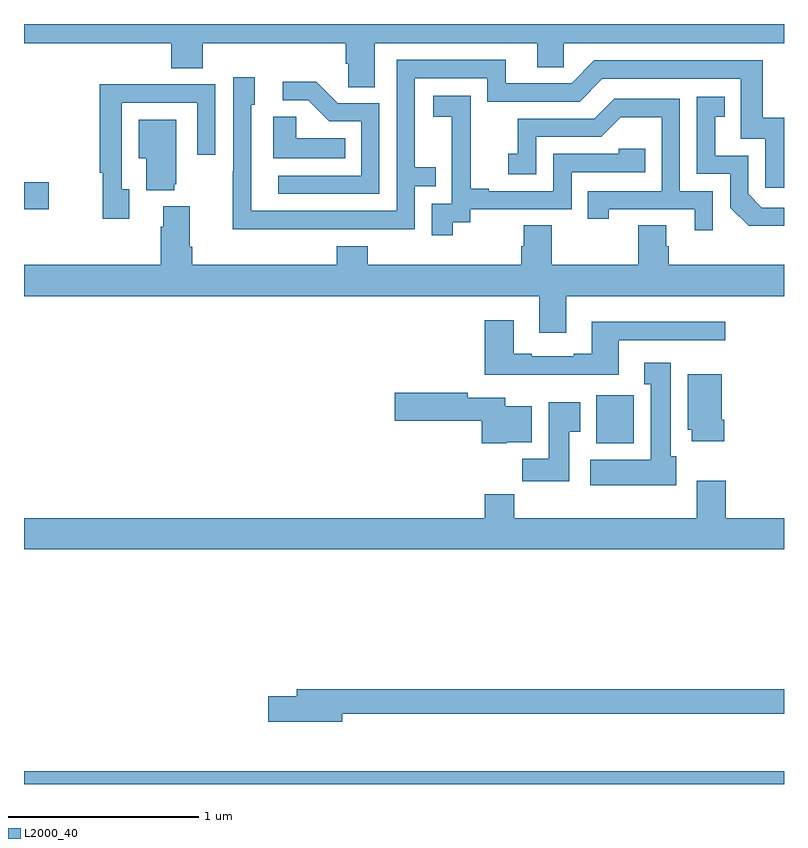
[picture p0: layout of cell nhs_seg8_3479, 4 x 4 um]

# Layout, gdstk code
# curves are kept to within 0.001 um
import gdstk
lib = gdstk.Library(unit=1e-6, precision=1e-09)
def R(c, l, rs):  # rectangles x0, y0, x1, y1
    for r in rs: c.add(gdstk.rectangle(r[:2], r[2:], *l))
def P(c, l, *ps):  # polygons
    for p in ps: c.add(gdstk.Polygon(p, *l))
L2000_40 = (2000, 40)

nhs_seg8_3479 = lib.new_cell('nhs_seg8_3479')
R(nhs_seg8_3479, L2000_40, [(325,1145.9,329,1145.968), (328.013,1147.694,328.209,1147.945), (325,1148.926,325.129,1149.068)])
P(nhs_seg8_3479, L2000_40, [(326.845,1149.8),(327.701,1149.8),(327.701,1149.673),(327.84,1149.673),(327.84,1149.8),(329,1149.8),(329,1149.9),(325,1149.9),(325,1149.8),(325.775,1149.8),(325.775,1149.667),(325.94,1149.667),(325.94,1149.8),(326.693,1149.8),(326.693,1149.691),(326.706,1149.691),(326.706,1149.568),(326.845,1149.568)],
  [(326.561,1148.82),(327.057,1148.82),(327.057,1149.045),(327.167,1149.045),(327.167,1149.146),(327.057,1149.146),(327.057,1149.615),(327.438,1149.615),(327.438,1149.492),(327.924,1149.492),(328.044,1149.612),(328.773,1149.612),(328.773,1149.297),(328.902,1149.297),(328.902,1149.039),(329,1149.039),(329,1149.406),(328.889,1149.406),(328.889,1149.708),(328.002,1149.708),(327.882,1149.588),(327.535,1149.588),(327.535,1149.711),(326.961,1149.711),(326.961,1148.916),(326.196,1148.916),(326.196,1149.474),(326.215,1149.474),(326.215,1149.619),(326.1,1149.619),(326.1,1149.125),(326.098,1149.125),(326.098,1148.819)],
  [(326.871,1149.483),(326.652,1149.483),(326.539,1149.596),(326.361,1149.596),(326.361,1149.498),(326.495,1149.498),(326.606,1149.387),(326.775,1149.387),(326.775,1149.102),(326.337,1149.102),(326.337,1149.006),(326.871,1149.006)],
  [(325.555,1149.03),(325.515,1149.03),(325.515,1149.486),(325.911,1149.486),(325.911,1149.213),(326.007,1149.213),(326.007,1149.582),(325.691,1149.582),(325.691,1149.584),(325.399,1149.584),(325.399,1149.118),(325.414,1149.118),(325.414,1148.874),(325.555,1148.874)],
  [(327.256,1148.857),(327.348,1148.857),(327.348,1148.925),(327.882,1148.925),(327.882,1149.12),(328.271,1149.12),(328.271,1149.243),(328.131,1149.243),(328.131,1149.216),(327.786,1149.216),(327.786,1149.021),(327.445,1149.021),(327.445,1149.034),(327.35,1149.034),(327.35,1149.317),(327.351,1149.317),(327.351,1149.523),(327.153,1149.523),(327.153,1149.413),(327.251,1149.413),(327.251,1149.185),(327.252,1149.185),(327.252,1148.955),(327.147,1148.955),(327.147,1148.787),(327.256,1148.787)],
  [(329,1148.934),(328.884,1148.934),(328.812,1149.006),(328.812,1149.207),(328.639,1149.207),(328.639,1149.411),(328.688,1149.411),(328.688,1149.517),(328.542,1149.517),(328.542,1149.111),(328.716,1149.111),(328.716,1148.934),(328.814,1148.837),(329,1148.837)],
  [(328.626,1149.021),(328.452,1149.021),(328.452,1149.507),(328.106,1149.507),(328.001,1149.402),(327.598,1149.402),(327.598,1149.217),(327.549,1149.217),(327.549,1149.108),(327.696,1149.108),(327.696,1149.306),(328.038,1149.306),(328.142,1149.41),(328.356,1149.41),(328.356,1149.021),(327.967,1149.021),(327.967,1148.874),(328.078,1148.874),(328.078,1148.925),(328.529,1148.925),(328.529,1148.814),(328.626,1148.814)],
  [(326.69,1149.298),(326.433,1149.298),(326.433,1149.413),(326.312,1149.413),(326.312,1149.194),(326.69,1149.194)],
  [(325.79,1149.057),(325.801,1149.057),(325.801,1149.397),(325.604,1149.397),(325.604,1149.194),(325.643,1149.194),(325.643,1149.026),(325.79,1149.026)],
  [(327.853,1148.468),(329,1148.468),(329,1148.632),(328.394,1148.632),(328.394,1148.73),(328.381,1148.73),(328.381,1148.84),(328.234,1148.84),(328.234,1148.632),(327.777,1148.632),(327.777,1148.84),(327.629,1148.84),(327.629,1148.73),(327.617,1148.73),(327.617,1148.632),(326.81,1148.632),(326.81,1148.731),(326.645,1148.731),(326.645,1148.632),(325.886,1148.632),(325.886,1148.728),(325.873,1148.728),(325.873,1148.941),(325.733,1148.941),(325.733,1148.834),(325.721,1148.834),(325.721,1148.632),(325,1148.632),(325,1148.468),(327.713,1148.468),(327.713,1148.274),(327.853,1148.274)],
  [(328.129,1148.235),(328.69,1148.235),(328.69,1148.332),(327.989,1148.332),(327.989,1148.164),(327.893,1148.164),(327.893,1148.151),(327.673,1148.151),(327.673,1148.164),(327.577,1148.164),(327.577,1148.341),(327.425,1148.341),(327.425,1148.054),(328.129,1148.054)],
  [(328.432,1147.626),(328.405,1147.626),(328.405,1148.116),(328.265,1148.116),(328.265,1148.003),(328.298,1148.003),(328.298,1147.606),(327.981,1147.606),(327.981,1147.472),(328.432,1147.472)],
  [(328.685,1147.816),(328.672,1147.816),(328.672,1148.056),(328.493,1148.056),(328.493,1147.764),(328.514,1147.764),(328.514,1147.704),(328.685,1147.704)],
  [(327.54,1147.7),(327.673,1147.7),(327.673,1147.888),(327.532,1147.888),(327.532,1147.933),(327.336,1147.933),(327.336,1147.958),(326.952,1147.958),(326.952,1147.811),(327.41,1147.811),(327.41,1147.694),(327.54,1147.694)],
  [(327.871,1147.753),(327.928,1147.753),(327.928,1147.909),(327.761,1147.909),(327.761,1147.612),(327.622,1147.612),(327.622,1147.494),(327.871,1147.494)],
  [(329,1147.3),(328.694,1147.3),(328.694,1147.495),(328.541,1147.495),(328.541,1147.3),(327.581,1147.3),(327.581,1147.424),(327.425,1147.424),(327.425,1147.3),(325,1147.3),(325,1147.136),(329,1147.136)],
  [(326.674,1146.27),(329,1146.27),(329,1146.398),(326.435,1146.398),(326.435,1146.362),(326.286,1146.362),(326.286,1146.227),(326.674,1146.227)])

lib.write_gds('nhs_seg8_3479.gds')
